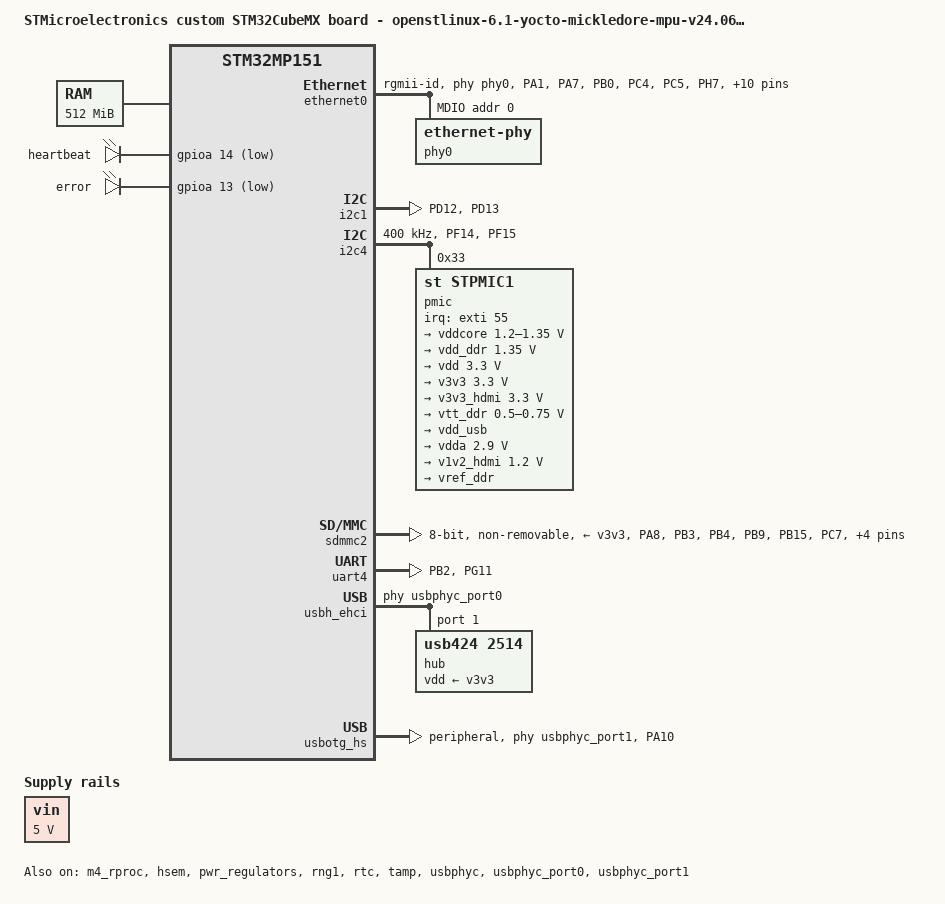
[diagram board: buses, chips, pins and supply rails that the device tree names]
// SPDX-License-Identifier: (GPL-2.0-or-later OR BSD-3-Clause)
/*
 * Copyright (C) 2024, STMicroelectronics - All Rights Reserved
 * Author: STM32CubeMX code generation for STMicroelectronics.
 */

/* For more information on Device Tree configuration, please refer to
 * https://wiki.st.com/stm32mpu/wiki/Category:Device_tree_configuration
 */

/dts-v1/;

#include <dt-bindings/pinctrl/stm32-pinfunc.h>
#include "stm32mp151.dtsi"
#include "stm32mp15xa.dtsi"
#include "stm32mp15xxac-pinctrl.dtsi"
#include "stm32mp15-m4-srm.dtsi"

/* USER CODE BEGIN includes */
#include "stm32mp15-scmi.dtsi"
#include <dt-bindings/gpio/gpio.h>
#include <dt-bindings/mfd/st,stpmic1.h>
/* USER CODE END includes */
/*KERNEL*/

/ {
	model = "STMicroelectronics custom STM32CubeMX board - openstlinux-6.1-yocto-mickledore-mpu-v24.06.26";
	compatible = "st,stm32mp151a-ap31085500a-mx", "st,stm32mp151";

	memory@c0000000 {
		device_type = "memory";
		reg = <0xc0000000 0x20000000>;

		/* USER CODE BEGIN memory */
		/* USER CODE END memory */
	};

	reserved-memory {
		#address-cells = <1>;
		#size-cells = <1>;
		ranges;

		/* USER CODE BEGIN reserved-memory */
		optee@de000000 {
			reg = <0xde000000 0x2000000>;
			no-map;
		};
		
		mcuram2:mcuram2@10000000{
			compatible = "shared-dma-pool";
			reg = <0x10000000 0x40000>;
			no-map;
		};

		vdev0vring0:vdev0vring0@10040000{
			compatible = "shared-dma-pool";
			reg = <0x10040000 0x1000>;
			no-map;
		};

		vdev0vring1:vdev0vring1@10041000{
			compatible = "shared-dma-pool";
			reg = <0x10041000 0x1000>;
			no-map;
		};

		vdev0buffer:vdev0buffer@10042000{
			compatible = "shared-dma-pool";
			reg = <0x10042000 0x4000>;
			no-map;
		};

		mcu_rsc_table:mcu-rsc-table@10048000{
			compatible = "shared-dma-pool";
			reg = <0x10048000 0x8000>;
			no-map;
		};

		mcuram:mcuram@30000000{
			compatible = "shared-dma-pool";
			reg = <0x30000000 0x40000>;
			no-map;
		};

		retram:retram@38000000{
			compatible = "shared-dma-pool";
			reg = <0x38000000 0x10000>;
			no-map;
		};
		/* USER CODE END reserved-memory */
	};

	/* USER CODE BEGIN root */
	aliases{
		ethernet0 = &ethernet0;
		serial0 = &uart4;
	};
	
	sound {
		status = "disabled";
	};
	
	config {
		u-boot,boot-led = "heartbeat";
		u-boot,error-led = "error";
		u-boot,mmc-env-partition = "u-boot-env";
		st,fastboot-gpios = <&gpioa 13 (GPIO_ACTIVE_LOW | GPIO_PULL_UP)>;
		st,stm32prog-gpios = <&gpioa 14 (GPIO_ACTIVE_LOW | GPIO_PULL_UP)>;
	};

	led{
		compatible = "gpio-leds";

		led-blue{
			label = "heartbeat";
			gpios = <&gpioa 14 GPIO_ACTIVE_LOW>;
			linux,default-trigger = "timer"; /* Change from heartbeat -> timer */
			default-state = "off";
		};
		
		led-red {
			label = "error";
			gpios = <&gpioa 13 GPIO_ACTIVE_LOW>;
			default-state = "off";
		};
	};
	
	vin:vin{
		compatible = "regulator-fixed";
		regulator-name = "vin";
		regulator-min-microvolt = <5000000>;
		regulator-max-microvolt = <5000000>;
		regulator-always-on;
	};

	chosen{
		stdout-path = "serial0:115200n8";
	};
	/* USER CODE END root */

	clocks{

		/* USER CODE BEGIN clocks */
		clk_csi: clk-csi {
			#clock-cells = <0>;
			compatible = "fixed-clock";
			clock-frequency = <4000000>;
		};

		clk_hse: clk-hse {
			#clock-cells = <0>;
			compatible = "fixed-clock";
			clock-frequency = <24000000>;
		};

		clk_hsi: clk-hsi {
			#clock-cells = <0>;
			compatible = "fixed-clock";
			clock-frequency = <64000000>;
		};

		clk_lse: clk-lse {
			#clock-cells = <0>;
			compatible = "fixed-clock";
			clock-frequency = <32768>;
		};

		clk_lsi: clk-lsi {
			#clock-cells = <0>;
			compatible = "fixed-clock";
			clock-frequency = <32000>;
		};
		/* USER CODE END clocks */
	};

}; /*root*/

&pinctrl {

	eth1_pins_mx: eth1_mx-0 {
		pins1 {
			pinmux = <STM32_PINMUX('A', 1, AF11)>, /* ETH1_RX_CLK */
					 <STM32_PINMUX('A', 7, AF11)>, /* ETH1_RX_CTL */
					 <STM32_PINMUX('B', 0, AF11)>, /* ETH1_RXD2 */
					 <STM32_PINMUX('C', 4, AF11)>, /* ETH1_RXD0 */
					 <STM32_PINMUX('C', 5, AF11)>, /* ETH1_RXD1 */
					 <STM32_PINMUX('H', 7, AF11)>; /* ETH1_RXD3 */
			bias-disable;
		};
		pins2 {
			pinmux = <STM32_PINMUX('A', 2, AF11)>; /* ETH1_MDIO */
			bias-disable;
			drive-push-pull;
			slew-rate = <0>;
		};
		pins3 {
			pinmux = <STM32_PINMUX('B', 11, AF11)>, /* ETH1_TX_CTL */
					 <STM32_PINMUX('C', 1, AF11)>, /* ETH1_MDC */
					 <STM32_PINMUX('C', 2, AF11)>, /* ETH1_TXD2 */
					 <STM32_PINMUX('E', 2, AF11)>, /* ETH1_TXD3 */
					 <STM32_PINMUX('G', 4, AF11)>, /* ETH1_GTX_CLK */
					 <STM32_PINMUX('G', 5, AF11)>, /* ETH1_CLK125 */
					 <STM32_PINMUX('G', 13, AF11)>, /* ETH1_TXD0 */
					 <STM32_PINMUX('G', 14, AF11)>; /* ETH1_TXD1 */
			bias-disable;
			drive-push-pull;
			slew-rate = <2>;
		};
		pins4 {
			pinmux = <STM32_PINMUX('B', 5, AF0)>; /* ETH1_CLK */
			bias-disable;
			drive-push-pull;
			slew-rate = <1>;
		};
	};

	eth1_sleep_pins_mx: eth1_sleep_mx-0 {
		pins {
			pinmux = <STM32_PINMUX('A', 1, ANALOG)>, /* ETH1_RX_CLK */
					 <STM32_PINMUX('A', 2, ANALOG)>, /* ETH1_MDIO */
					 <STM32_PINMUX('A', 7, ANALOG)>, /* ETH1_RX_CTL */
					 <STM32_PINMUX('B', 0, ANALOG)>, /* ETH1_RXD2 */
					 <STM32_PINMUX('B', 5, ANALOG)>, /* ETH1_CLK */
					 <STM32_PINMUX('B', 11, ANALOG)>, /* ETH1_TX_CTL */
					 <STM32_PINMUX('C', 1, ANALOG)>, /* ETH1_MDC */
					 <STM32_PINMUX('C', 2, ANALOG)>, /* ETH1_TXD2 */
					 <STM32_PINMUX('C', 4, ANALOG)>, /* ETH1_RXD0 */
					 <STM32_PINMUX('C', 5, ANALOG)>, /* ETH1_RXD1 */
					 <STM32_PINMUX('E', 2, ANALOG)>, /* ETH1_TXD3 */
					 <STM32_PINMUX('G', 4, ANALOG)>, /* ETH1_GTX_CLK */
					 <STM32_PINMUX('G', 5, ANALOG)>, /* ETH1_CLK125 */
					 <STM32_PINMUX('G', 13, ANALOG)>, /* ETH1_TXD0 */
					 <STM32_PINMUX('G', 14, ANALOG)>, /* ETH1_TXD1 */
					 <STM32_PINMUX('H', 7, ANALOG)>; /* ETH1_RXD3 */
		};
	};

	i2c1_pins_mx: i2c1_mx-0 {
		pins {
			pinmux = <STM32_PINMUX('D', 12, AF5)>, /* I2C1_SCL */
					 <STM32_PINMUX('D', 13, AF5)>; /* I2C1_SDA */
			bias-disable;
			drive-open-drain;
			slew-rate = <0>;
		};
	};

	i2c1_sleep_pins_mx: i2c1_sleep_mx-0 {
		pins {
			pinmux = <STM32_PINMUX('D', 12, ANALOG)>, /* I2C1_SCL */
					 <STM32_PINMUX('D', 13, ANALOG)>; /* I2C1_SDA */
		};
	};

	i2c4_pins_mx: i2c4_mx-0 {
		pins {
			pinmux = <STM32_PINMUX('F', 14, AF4)>, /* I2C4_SCL */
					 <STM32_PINMUX('F', 15, AF4)>; /* I2C4_SDA */
			bias-disable;
			drive-open-drain;
			slew-rate = <0>;
		};
	};

	i2c4_sleep_pins_mx: i2c4_sleep_mx-0 {
		pins {
			pinmux = <STM32_PINMUX('F', 14, ANALOG)>, /* I2C4_SCL */
					 <STM32_PINMUX('F', 15, ANALOG)>; /* I2C4_SDA */
		};
	};
#if 1
	sdmmc2_pins_mx: sdmmc2_mx-0 {
		pins1 {
			pinmux = <STM32_PINMUX('A', 8, AF9)>, /* SDMMC2_D4 */
					 <STM32_PINMUX('B', 3, AF9)>, /* SDMMC2_D2 */
					 <STM32_PINMUX('B', 4, AF9)>, /* SDMMC2_D3 */
					 <STM32_PINMUX('B', 9, AF10)>, /* SDMMC2_D5 */
					 <STM32_PINMUX('B', 15, AF9)>, /* SDMMC2_D1 */
					 <STM32_PINMUX('C', 7, AF10)>, /* SDMMC2_D7 */
					 <STM32_PINMUX('E', 5, AF9)>; /* SDMMC2_D6 */
			bias-disable;
			drive-push-pull;
			slew-rate = <1>;
		};
		pins2 {
			pinmux = <STM32_PINMUX('B', 14, AF9)>, /* SDMMC2_D0 */
					 <STM32_PINMUX('E', 3, AF9)>, /* SDMMC2_CK */
					 <STM32_PINMUX('G', 6, AF10)>; /* SDMMC2_CMD */
			bias-pull-up;
			drive-push-pull;
			slew-rate = <1>;
		};
	};

	sdmmc2_opendrain_pins_mx: sdmmc2_opendrain_mx-0 {
		pins1 {
			pinmux = <STM32_PINMUX('A', 8, AF9)>, /* SDMMC2_D4 */
					 <STM32_PINMUX('B', 3, AF9)>, /* SDMMC2_D2 */
					 <STM32_PINMUX('B', 4, AF9)>, /* SDMMC2_D3 */
					 <STM32_PINMUX('B', 9, AF10)>, /* SDMMC2_D5 */
					 <STM32_PINMUX('B', 15, AF9)>, /* SDMMC2_D1 */
					 <STM32_PINMUX('C', 7, AF10)>, /* SDMMC2_D7 */
					 <STM32_PINMUX('E', 5, AF9)>; /* SDMMC2_D6 */
			bias-disable;
			drive-push-pull;
			slew-rate = <1>;
		};
		pins2 {
			pinmux = <STM32_PINMUX('B', 14, AF9)>, /* SDMMC2_D0 */
					 <STM32_PINMUX('E', 3, AF9)>; /* SDMMC2_CK */
			bias-pull-up;
			drive-push-pull;
			slew-rate = <1>;
		};
		pins3 {
			pinmux = <STM32_PINMUX('G', 6, AF10)>; /* SDMMC2_CMD */
			bias-pull-up;
			drive-open-drain;
			slew-rate = <1>;
		};
	};

	sdmmc2_sleep_pins_mx: sdmmc2_sleep_mx-0 {
		pins {
			pinmux = <STM32_PINMUX('A', 8, ANALOG)>, /* SDMMC2_D4 */
					 <STM32_PINMUX('B', 3, ANALOG)>, /* SDMMC2_D2 */
					 <STM32_PINMUX('B', 4, ANALOG)>, /* SDMMC2_D3 */
					 <STM32_PINMUX('B', 9, ANALOG)>, /* SDMMC2_D5 */
					 <STM32_PINMUX('B', 14, ANALOG)>, /* SDMMC2_D0 */
					 <STM32_PINMUX('B', 15, ANALOG)>, /* SDMMC2_D1 */
					 <STM32_PINMUX('C', 7, ANALOG)>, /* SDMMC2_D7 */
					 <STM32_PINMUX('E', 3, ANALOG)>, /* SDMMC2_CK */
					 <STM32_PINMUX('E', 5, ANALOG)>, /* SDMMC2_D6 */
					 <STM32_PINMUX('G', 6, ANALOG)>; /* SDMMC2_CMD */
		};
	};
#endif
	uart4_pins_mx: uart4_mx-0 {
		pins1 {
			pinmux = <STM32_PINMUX('B', 2, AF8)>; /* UART4_RX */
			bias-pull-up;
		};
		pins2 {
			pinmux = <STM32_PINMUX('G', 11, AF6)>; /* UART4_TX */
			bias-pull-up;
			drive-push-pull;
			slew-rate = <0>;
		};
	};

	uart4_idle_pins_mx: uart4_idle_mx-0 {
		pins1 {
			pinmux = <STM32_PINMUX('B', 2, AF8)>; /* UART4_RX */
			bias-pull-up;
		};
		pins2 {
			pinmux = <STM32_PINMUX('G', 11, ANALOG)>; /* UART4_TX */
		};
	};

	uart4_sleep_pins_mx: uart4_sleep_mx-0 {
		pins {
			pinmux = <STM32_PINMUX('B', 2, ANALOG)>, /* UART4_RX */
					 <STM32_PINMUX('G', 11, ANALOG)>; /* UART4_TX */
		};
	};

	usb_otg_hs_pins_mx: usb_otg_hs_mx-0 {
		pins {
			pinmux = <STM32_PINMUX('A', 10, ANALOG)>; /* USB_OTG_HS_ID */
		};
	};

	usb_otg_hs_sleep_pins_mx: usb_otg_hs_sleep_mx-0 {
		pins {
			pinmux = <STM32_PINMUX('A', 10, ANALOG)>; /* USB_OTG_HS_ID */
		};
	};

	/* USER CODE BEGIN pinctrl */
	/* USER CODE END pinctrl */
};

&pinctrl_z {

	/* USER CODE BEGIN pinctrl_z */
	/* USER CODE END pinctrl_z */
};

&m4_rproc{
	status = "okay";

	/* USER CODE BEGIN m4_rproc */
	resets = <&scmi_reset RST_SCMI_MCU>, <&scmi_reset RST_SCMI_MCU_HOLD_BOOT>;
	reset-names = "mcu_rst", "hold_boot";
	/*/delete-property/ st,syscfg-holdboot;*/
	mboxes = <&ipcc 0>, <&ipcc 1>, <&ipcc 2>, <&ipcc 3>;
	mbox-names = "vq0", "vq1", "shutdown", "detach";
	memory-region = <&retram>, <&mcuram>, <&mcuram2>, <&vdev0vring0>, <&vdev0vring1>, <&vdev0buffer>, <&mcu_rsc_table>;
	interrupt-parent = <&exti>;
	interrupts = <68 1>;
	wakeup-source;
	/* USER CODE END m4_rproc */

	m4_system_resources{
		status = "okay";

		/* USER CODE BEGIN m4_system_resources */
		/* USER CODE END m4_system_resources */
	};
};

&bsec{
	status = "disabled";

	/* USER CODE BEGIN bsec */
	/* USER CODE END bsec */
};

&cec{
	status = "disabled";

	/* USER CODE BEGIN cec */
	/* USER CODE END cec */
};

&dma1{
	status = "okay";

	/* USER CODE BEGIN dma1 */
	resets = <&scmi_reset RST_SCMI_MDMA>;
	/* USER CODE END dma1 */
};

&dma2{
	status = "disabled";

	/* USER CODE BEGIN dma2 */
	/* USER CODE END dma2 */
};

&dmamux1{
	status = "okay";

	dma-masters = <&dma1>;
	dma-channels = <8>;

	/* USER CODE BEGIN dmamux1 */
	/* USER CODE END dmamux1 */
};

&ethernet0{
	pinctrl-names = "default", "sleep";
	pinctrl-0 = <&eth1_pins_mx>;
	pinctrl-1 = <&eth1_sleep_pins_mx>;
	status = "okay";

	/* USER CODE BEGIN ethernet0 */
	phy-mode = "rgmii-id";
	max-speed = <1000>;
	phy-handle = <&phy0>;
	nvmem-cells = <&ethernet_mac_address>;
	nvmem-cell-names = "mac-address";

	mdio{
		#address-cells = <1>;
		#size-cells = <0>;
		compatible = "snps,dwmac-mdio";

		phy0:ethernet-phy@0{
			reg = <0>;
		};
	};
	/* USER CODE END ethernet0 */
};

&hsem{
	status = "okay";

	/* USER CODE BEGIN hsem */
	/* USER CODE END hsem */
};

&i2c1{
	pinctrl-names = "default", "sleep";
	pinctrl-0 = <&i2c1_pins_mx>;
	pinctrl-1 = <&i2c1_sleep_pins_mx>;
	status = "okay";

	/* USER CODE BEGIN i2c1 */
	/* USER CODE END i2c1 */
};

&i2c4{
	pinctrl-names = "default", "sleep";
	pinctrl-0 = <&i2c4_pins_mx>;
	pinctrl-1 = <&i2c4_sleep_pins_mx>;
	status = "okay";

	/* USER CODE BEGIN i2c4 */
	clocks = <&scmi_clk CK_SCMI_I2C4>;
	resets = <&scmi_reset RST_SCMI_I2C4>;
	i2c-scl-rising-time-ns = <185>;
	i2c-scl-falling-time-ns = <20>;
	clock-frequency = <400000>;
	/delete-property/ dmas;
	/delete-property/ dma-names;

	pmic: stpmic@33 {
	compatible = "st,stpmic1";
	reg = <0x33>;
	/* interrupts-extended = <&exti_pwr 55 IRQ_TYPE_EDGE_FALLING>;*/
	interrupts-extended = <&exti 55 IRQ_TYPE_EDGE_FALLING>;
	interrupt-controller;
	#interrupt-cells = <2>;
	status = "okay";

		regulators {
			compatible = "st,stpmic1-regulators";
			
			buck1-supply = <&vin>;
			buck2-supply = <&vin>;
			buck3-supply = <&vin>;
			buck4-supply = <&vin>;
			ldo2-supply  = <&vin>;
			ldo3-supply  = <&vdd>;         /* VTT_DDR must be fed from BUCK3 */
			ldo4-supply  = <&vin>;
			ldo5-supply  = <&vin>;
			ldo6-supply  = <&v3v3>;
			vref_ddr-supply = <&vdd_ddr>;  /* VREF must follow VDD_DDR */

			vddcore: buck1 {
				regulator-name = "vddcore";
				regulator-min-microvolt = <1200000>;
				regulator-max-microvolt = <1350000>;
				regulator-always-on;
				regulator-initial-mode = <0>;
				regulator-over-current-protection;

				lp-stop {
					regulator-on-in-suspend;
				};
			};

			vdd_ddr: buck2 {
				regulator-name = "vdd_ddr";
				regulator-min-microvolt = <1350000>;
				regulator-max-microvolt = <1350000>;
				regulator-always-on;
				regulator-initial-mode = <0>;
				regulator-over-current-protection;

				lp-stop {
					regulator-on-in-suspend;
				};
			};

			vdd: buck3 {
				regulator-name = "vdd";
				regulator-min-microvolt = <3300000>;
				regulator-max-microvolt = <3300000>;
				regulator-always-on;
				st,mask-reset;
				regulator-initial-mode = <0>;
				regulator-over-current-protection;
				lp-stop {
					regulator-on-in-suspend;
				};
			};

			v3v3: buck4 {
				regulator-name = "v3v3";
				regulator-min-microvolt = <3300000>;
				regulator-max-microvolt = <3300000>;
				regulator-always-on;
				regulator-over-current-protection;
				regulator-initial-mode = <0>;

				lp-stop {
					regulator-on-in-suspend;
				};
			};

			/*
			v1v8_audio: ldo1 {
				regulator-name = "v1v8_audio";
				regulator-min-microvolt = <1800000>;
				regulator-max-microvolt = <1800000>;
				regulator-always-on;
				interrupts = <IT_CURLIM_LDO1 0>;
			};
			*/

			v3v3_hdmi: ldo2 {
				regulator-name = "v3v3_hdmi";
				regulator-min-microvolt = <3300000>;
				regulator-max-microvolt = <3300000>;
				regulator-always-on;
				interrupts = <IT_CURLIM_LDO2 0>;
				/* nessuna gestione di suspend dal secure world */
			};

			vtt_ddr: ldo3 {
				regulator-name = "vtt_ddr";
				regulator-always-on;
				st,regulator-sink-source;
				regulator-min-microvolt = <500000>;
				regulator-max-microvolt = <750000>;
				
				/* nessuna gestione di suspend: resta sempre on */
			};

			vdd_usb: ldo4 {
				regulator-name = "vdd_usb";
				regulator-always-on;
				interrupts = <IT_CURLIM_LDO4 0>;
				/* nessuna gestione di suspend dal secure world */
			};

			vdda: ldo5 {
				regulator-name = "vdda";
				regulator-always-on;
				regulator-min-microvolt = <2900000>;
				regulator-max-microvolt = <2900000>;
				interrupts = <IT_CURLIM_LDO5 0>;
				regulator-boot-on;
			};

			v1v2_hdmi: ldo6 {
				regulator-name = "v1v2_hdmi";
				regulator-min-microvolt = <1200000>;
				regulator-max-microvolt = <1200000>;
				regulator-always-on;
				interrupts = <IT_CURLIM_LDO6 0>;
			};

			vref_ddr: vref_ddr {
				regulator-name = "vref_ddr";
				regulator-always-on;

				lp-stop {
					regulator-on-in-suspend;
				};
			};

			/*
			bst_out: boost {
				regulator-name = "bst_out";
				interrupts = <IT_OCP_BOOST 0>;
			};

			vbus_otg: pwr_sw1 {
				regulator-name = "vbus_otg";
				interrupts = <IT_OCP_OTG 0>;
			};

			vbus_sw: pwr_sw2 {
				regulator-name = "vbus_sw";
				interrupts = <IT_OCP_SWOUT 0>;
				regulator-active-discharge = <1>;
			};
			*/
		};
	};

	/* USER CODE END i2c4 */
};

&i2s2{
	/* USER CODE BEGIN i2s2 */
	status = "disabled";
	/* USER CODE END i2s2 */
};

&ltdc{
	status = "disabled";
	/* USER CODE BEGIN ltdc */

	/* USER CODE END ltdc */
};

&m4_dma2{
	status = "okay";

	/* USER CODE BEGIN m4_dma2 */
	/* USER CODE END m4_dma2 */
};

&mdma1{
	status = "okay";

	/* USER CODE BEGIN mdma1 */
	/* USER CODE END mdma1 */
};

&pwr_regulators{
	status = "okay";

	/* USER CODE BEGIN pwr_regulators */
	vdd-supply = <&vdd>;
	vdd_3v3_usbfs-supply = <&vdd_usb>;
	/* USER CODE END pwr_regulators */
};

&rcc{
	status = "okay";

	/* USER CODE BEGIN rcc */
	compatible = "st,stm32mp1-rcc-secure", "syscon";
	clock-names = "hse", "hsi", "csi", "lse", "lsi";
	clocks = <&scmi_clk CK_SCMI_HSE>,
		 <&scmi_clk CK_SCMI_HSI>,
		 <&scmi_clk CK_SCMI_CSI>,
		 <&scmi_clk CK_SCMI_LSE>,
		 <&scmi_clk CK_SCMI_LSI>;
	/* USER CODE END rcc */
};

&rng1{
	status = "okay";

	/* USER CODE BEGIN rng1 */
	clocks = <&scmi_clk CK_SCMI_RNG1>;
	resets = <&scmi_reset RST_SCMI_RNG1>;
	/* USER CODE END rng1 */
};

&rtc{
	status = "okay";

	/* USER CODE BEGIN rtc */
	clocks = <&scmi_clk CK_SCMI_RTCAPB>, <&scmi_clk CK_SCMI_RTC>;
	/* USER CODE END rtc */
};

&sdmmc2{
	pinctrl-names = "default", "opendrain", "sleep";
	pinctrl-0 = <&sdmmc2_pins_mx>;
	pinctrl-1 = <&sdmmc2_opendrain_pins_mx>;
	pinctrl-2 = <&sdmmc2_sleep_pins_mx>;
	status = "okay";

	/* USER CODE BEGIN sdmmc2 */
	non-removable;
	no-sd;
	no-sdio;
	st,neg-edge;
	bus-width = <8>;
	vmmc-supply = <&v3v3>;
	vqmmc-supply = <&vdd>;
	mmc-ddr-3_3v;
	/* USER CODE END sdmmc2 */
};

&tamp{
	status = "okay";

	/* USER CODE BEGIN tamp */
	/* USER CODE END tamp */
};

&uart4{
	pinctrl-names = "default", "idle", "sleep";
	pinctrl-0 = <&uart4_pins_mx>;
	pinctrl-1 = <&uart4_idle_pins_mx>;
	pinctrl-2 = <&uart4_sleep_pins_mx>;
	status = "okay";

	/* USER CODE BEGIN uart4 */
	/delete-property/ dmas;
	/delete-property/ dma-names;
	u-boot,dm-pre-reloc;
	/* USER CODE END uart4 */
};

&usbh_ehci{
	status = "okay";

	/* USER CODE BEGIN usbh_ehci */
	phys = <&usbphyc_port0>;
	#address-cells = <1>;
	#size-cells = <0>;
	/* onboard HUB */
	hub@1 {
		compatible = "usb424,2514";
		reg = <1>;
		vdd-supply = <&v3v3>;
	};
	/* USER CODE END usbh_ehci */
};

&usbh_ohci{

	/* USER CODE BEGIN usbh_ohci */
	status = "disabled";
	/* USER CODE END usbh_ohci */
};

&usbotg_hs{
	pinctrl-names = "default", "sleep";
	pinctrl-0 = <&usb_otg_hs_pins_mx>;
	pinctrl-1 = <&usb_otg_hs_sleep_pins_mx>;
	status = "okay";

	/* USER CODE BEGIN usbotg_hs */
	phys = <&usbphyc_port1 0>;
	phy-names = "usb2-phy";
	usb-role-switch;
    u-boot,dm-pre-reloc;                        
    u-boot,force-b-session-valid;
    hnp-srp-disable;
    dr_mode = "peripheral";  
	/* USER CODE END usbotg_hs */
};

&usbphyc{
	status = "okay";

	/* USER CODE BEGIN usbphyc */
	phy-supply = <&vdd_usb>;
	/* USER CODE END usbphyc */
};

&usbphyc_port0{
	status = "okay";

	/* USER CODE BEGIN usbphyc_port0 */
	phy-supply = <&vdd_usb>;
	st,tune-hs-dc-level = <2>;
	st,enable-fs-rftime-tuning;
	st,enable-hs-rftime-reduction;
	st,trim-hs-current = <15>;
	st,trim-hs-impedance = <1>;
	st,tune-squelch-level = <3>;
	st,tune-hs-rx-offset = <2>;
	st,no-lsfs-sc;
	/* USER CODE END usbphyc_port0 */
};

&usbphyc_port1{
	status = "okay";

	/* USER CODE BEGIN usbphyc_port1 */
	phy-supply = <&vdd_usb>;
	st,tune-hs-dc-level = <2>;
	st,enable-fs-rftime-tuning;
	st,enable-hs-rftime-reduction;
	st,trim-hs-current = <15>;
	st,trim-hs-impedance = <1>;
	st,tune-squelch-level = <3>;
	st,tune-hs-rx-offset = <2>;
	st,no-lsfs-sc;
	/* USER CODE END usbphyc_port1 */
};

/* USER CODE BEGIN addons */
/*
&arm_wdt{
	timeout-sec = <32>;
	status = "okay";
};
*/
&cpu0 {
	cpu-supply = <&vddcore>;
	clocks = <&scmi_clk CK_SCMI_MPU>;
};

&uart4_pins_mx {
	u-boot,dm-pre-reloc;
	pins1 {
		u-boot,dm-pre-reloc;
	};
	pins2 {
		u-boot,dm-pre-reloc;
	};
};
&gpioz {
	clocks = <&scmi_clk CK_SCMI_GPIOZ>;
};

/* USER CODE END addons */

